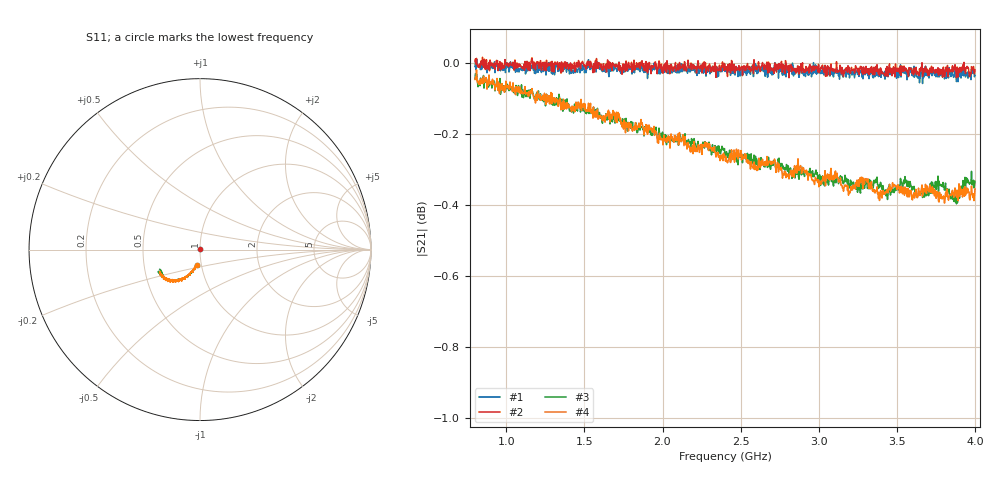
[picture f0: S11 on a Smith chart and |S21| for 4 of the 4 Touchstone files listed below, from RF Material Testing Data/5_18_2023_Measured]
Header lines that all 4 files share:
!Keysight Technologies N9950B: A.12.38
!Timezone: (UTC-06:00) Central Time (US & Canada)
!Model: N9950B
!Serial: MY61131330
!GPS Latitude:
!GPS Longitude:
!GPS TimeStamp: 0001-01-01 00:00:00Z
!GPS Seconds Since Last Read: 0
!Correction: S11(ON U)S21(ON U)S12(ON U)S22(ON U)
!S2P File: Measurements:S11,S21,S12,S22:
# Hz S DB R 50
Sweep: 800 MHz to 4 GHz
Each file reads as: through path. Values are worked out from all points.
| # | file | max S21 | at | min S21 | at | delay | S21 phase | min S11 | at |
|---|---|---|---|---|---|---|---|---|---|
| 1 | 18.May.2023_N_15mm_air2.s2p | 0.01 dB | 809.6 MHz | -0.1 dB | 3.664 GHz | 50.8 ps | -44 deg at 2.4 GHz | -82.9 dB | 1.53 GHz |
| 2 | 18.May.2023_N_15mm_air.s2p | 0.02 dB | 848 MHz | 0.0 dB | 3.882 GHz | 105 ps | -90 deg at 2.4 GHz | -86.3 dB | 1.498 GHz |
| 3 | 18.May.2023_N_15mm_teflon2.s2p | -0.03 dB | 803.2 MHz | -0.4 dB | 3.882 GHz | 66.2 ps | -59 deg at 2.4 GHz | -20.8 dB | 800 MHz |
| 4 | 18.May.2023_N_15mm_teflon.s2p | -0.02 dB | 809.6 MHz | -0.4 dB | 3.805 GHz | 120 ps | -105 deg at 2.4 GHz | -20.6 dB | 800 MHz |
